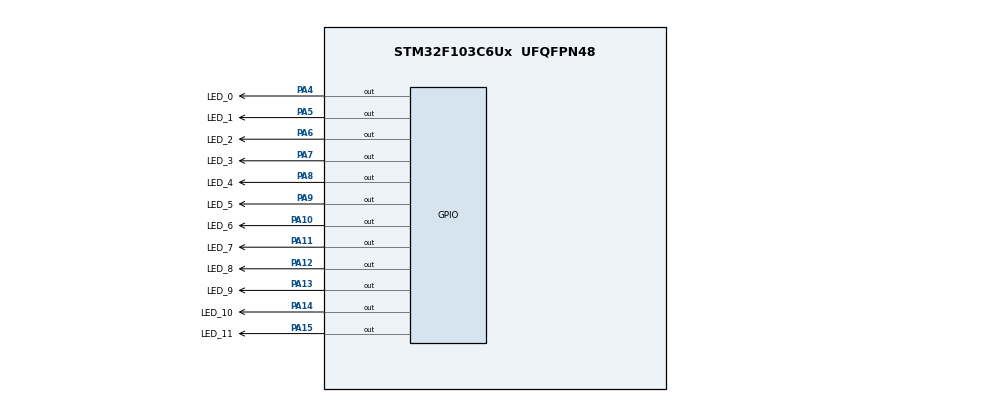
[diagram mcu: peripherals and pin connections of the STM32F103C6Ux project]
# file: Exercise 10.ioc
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Mcu.Family=STM32F1
Mcu.Name=STM32F103C6Ux
Mcu.Package=UFQFPN48
NVIC.PriorityGroup=NVIC_PRIORITYGROUP_4
PA10.GPIO_Label=LED_6
PA10.Signal=GPIO_Output
PA11.GPIO_Label=LED_7
PA11.Signal=GPIO_Output
PA12.GPIO_Label=LED_8
PA12.Signal=GPIO_Output
PA13.GPIO_Label=LED_9
PA13.Signal=GPIO_Output
PA14.GPIO_Label=LED_10
PA14.Signal=GPIO_Output
PA15.GPIO_Label=LED_11
PA15.Signal=GPIO_Output
PA4.GPIO_Label=LED_0
PA4.Signal=GPIO_Output
PA5.GPIO_Label=LED_1
PA5.Signal=GPIO_Output
PA6.GPIO_Label=LED_2
PA6.Signal=GPIO_Output
PA7.GPIO_Label=LED_3
PA7.Signal=GPIO_Output
PA8.GPIO_Label=LED_4
PA8.Signal=GPIO_Output
PA9.GPIO_Label=LED_5
PA9.Signal=GPIO_Output
ProjectManager.HeapSize=0x200
ProjectManager.StackSize=0x400
ProjectManager.TargetToolchain=STM32CubeIDE
RCC.APB1Freq_Value=8000000
RCC.APB2Freq_Value=8000000
VP_SYS_VS_ND.Mode=No_Debug
board=custom

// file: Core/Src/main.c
/* USER CODE BEGIN Header */
/**
  ******************************************************************************
  * @file           : main.c
  * @brief          : Main program body
  ******************************************************************************
  * @attention
  *
  * <h2><center>&copy; Copyright (c) 2022 STMicroelectronics.
  * All rights reserved.</center></h2>
  *
  * This software component is licensed by ST under BSD 3-Clause license,
  * the "License"; You may not use this file except in compliance with the
  * License. You may obtain a copy of the License at:
  *                        opensource.org/licenses/BSD-3-Clause
  *
  ******************************************************************************
  */
/* USER CODE END Header */
#include "main.h"

void SystemClock_Config(void);
static void MX_GPIO_Init(void);

/* USER CODE BEGIN 0 */

void clearAllClock (){
	HAL_GPIO_WritePin(LED_0_GPIO_Port, LED_0_Pin, GPIO_PIN_SET);
	HAL_GPIO_WritePin(LED_1_GPIO_Port, LED_1_Pin, GPIO_PIN_SET);
	HAL_GPIO_WritePin(LED_2_GPIO_Port, LED_2_Pin, GPIO_PIN_SET);
	HAL_GPIO_WritePin(LED_3_GPIO_Port, LED_3_Pin, GPIO_PIN_SET);
	HAL_GPIO_WritePin(LED_4_GPIO_Port, LED_4_Pin, GPIO_PIN_SET);
	HAL_GPIO_WritePin(LED_5_GPIO_Port, LED_5_Pin, GPIO_PIN_SET);
	HAL_GPIO_WritePin(LED_6_GPIO_Port, LED_6_Pin, GPIO_PIN_SET);
	HAL_GPIO_WritePin(LED_7_GPIO_Port, LED_7_Pin, GPIO_PIN_SET);
	HAL_GPIO_WritePin(LED_8_GPIO_Port, LED_8_Pin, GPIO_PIN_SET);
	HAL_GPIO_WritePin(LED_9_GPIO_Port, LED_9_Pin, GPIO_PIN_SET);
	HAL_GPIO_WritePin(LED_10_GPIO_Port, LED_10_Pin, GPIO_PIN_SET);
	HAL_GPIO_WritePin(LED_11_GPIO_Port, LED_11_Pin, GPIO_PIN_SET);
}

void setNumberOnClock(int num){
	switch(num){
	case 0 :{
				HAL_GPIO_WritePin(LED_0_GPIO_Port, LED_0_Pin, GPIO_PIN_RESET);
				break;
			}
			case 1 :{
				HAL_GPIO_WritePin(LED_1_GPIO_Port, LED_1_Pin, GPIO_PIN_RESET);
				break;
			}
			case 2 :{
				HAL_GPIO_WritePin(LED_2_GPIO_Port, LED_2_Pin, GPIO_PIN_RESET);
				break;
			}
			case 3 :{
				HAL_GPIO_WritePin(LED_3_GPIO_Port, LED_3_Pin, GPIO_PIN_RESET);
				break;
			}
			case 4 :{
				HAL_GPIO_WritePin(LED_4_GPIO_Port, LED_4_Pin, GPIO_PIN_RESET);
				break;
			}
			case 5 :{
				HAL_GPIO_WritePin(LED_5_GPIO_Port, LED_5_Pin, GPIO_PIN_RESET);
				break;
			}
			case 6 :{
				HAL_GPIO_WritePin(LED_6_GPIO_Port, LED_6_Pin, GPIO_PIN_RESET);
				break;
			}
			case 7 :{
				HAL_GPIO_WritePin(LED_7_GPIO_Port, LED_7_Pin, GPIO_PIN_RESET);
				break;
			}
			case 8 :{
				HAL_GPIO_WritePin(LED_8_GPIO_Port, LED_8_Pin, GPIO_PIN_RESET);
				break;
			}
			case 9 :{
				HAL_GPIO_WritePin(LED_9_GPIO_Port, LED_9_Pin, GPIO_PIN_RESET);
				break;
			}
			case 10 :{
				HAL_GPIO_WritePin(LED_10_GPIO_Port, LED_10_Pin, GPIO_PIN_RESET);
				break;
			}
			case 11 :{
				HAL_GPIO_WritePin(LED_11_GPIO_Port, LED_11_Pin, GPIO_PIN_RESET);
				break;
			}
	}
}

void clearNumberOnClock(int num){
	switch(num){
			case 0 :{
				HAL_GPIO_WritePin(LED_0_GPIO_Port, LED_0_Pin, GPIO_PIN_SET);
				break;
			}
			case 1 :{
				HAL_GPIO_WritePin(LED_1_GPIO_Port, LED_1_Pin, GPIO_PIN_SET);
				break;
			}
			case 2 :{
				HAL_GPIO_WritePin(LED_2_GPIO_Port, LED_2_Pin, GPIO_PIN_SET);
				break;
			}
			case 3 :{
				HAL_GPIO_WritePin(LED_3_GPIO_Port, LED_3_Pin, GPIO_PIN_SET);
				break;
			}
			case 4 :{
				HAL_GPIO_WritePin(LED_4_GPIO_Port, LED_4_Pin, GPIO_PIN_SET);
				break;
			}
			case 5 :{
				HAL_GPIO_WritePin(LED_5_GPIO_Port, LED_5_Pin, GPIO_PIN_SET);
				break;
			}
			case 6 :{
				HAL_GPIO_WritePin(LED_6_GPIO_Port, LED_6_Pin, GPIO_PIN_SET);
				break;
			}
			case 7 :{
				HAL_GPIO_WritePin(LED_7_GPIO_Port, LED_7_Pin, GPIO_PIN_SET);
				break;
			}
			case 8 :{
				HAL_GPIO_WritePin(LED_8_GPIO_Port, LED_8_Pin, GPIO_PIN_SET);
				break;
			}
			case 9 :{
				HAL_GPIO_WritePin(LED_9_GPIO_Port, LED_9_Pin, GPIO_PIN_SET);
				break;
			}
			case 10 :{
				HAL_GPIO_WritePin(LED_10_GPIO_Port, LED_10_Pin, GPIO_PIN_SET);
				break;
			}
			case 11 :{
				HAL_GPIO_WritePin(LED_11_GPIO_Port, LED_11_Pin, GPIO_PIN_SET);
				break;
			}
	}
}

/* USER CODE END 0 */

int main(void)
{

  /* MCU Configuration--------------------------------------------------------*/

  /* Reset of all peripherals, Initializes the Flash interface and the Systick. */
  HAL_Init();

  /* Configure the system clock */
  SystemClock_Config();

  /* Initialize all configured peripherals */
  MX_GPIO_Init();
  /* USER CODE BEGIN 2 */

  int second = 0;
  int minute = 0;
  int hour = 0;
  /* USER CODE END 2 */

  /* Infinite loop */
  /* USER CODE BEGIN WHILE */
  while (1)
  {
	  clearAllClock();
	  setNumberOnClock(hour);
	  setNumberOnClock(minute/5);
	  setNumberOnClock(second/5);
	  if (second == 60){
		  minute++;
		  second = 0;
	  }
	  if (minute == 60){
		  hour ++;
		  minute = 0;
	  }
	  if (hour == 12){
		  hour = 0;
	  }
	  second ++;
	  HAL_Delay(100);
    /* USER CODE END WHILE */

  }
}

void SystemClock_Config(void)
{
  RCC_OscInitTypeDef RCC_OscInitStruct = {0};
  RCC_ClkInitTypeDef RCC_ClkInitStruct = {0};

  /** Initializes the RCC Oscillators according to the specified parameters
  * in the RCC_OscInitTypeDef structure.
  */
  RCC_OscInitStruct.OscillatorType = RCC_OSCILLATORTYPE_HSI;
  RCC_OscInitStruct.HSIState = RCC_HSI_ON;
  RCC_OscInitStruct.HSICalibrationValue = RCC_HSICALIBRATION_DEFAULT;
  RCC_OscInitStruct.PLL.PLLState = RCC_PLL_NONE;
  if (HAL_RCC_OscConfig(&RCC_OscInitStruct) != HAL_OK)
  {
    Error_Handler();
  }
  /** Initializes the CPU, AHB and APB buses clocks
  */
  RCC_ClkInitStruct.ClockType = RCC_CLOCKTYPE_HCLK|RCC_CLOCKTYPE_SYSCLK
                              |RCC_CLOCKTYPE_PCLK1|RCC_CLOCKTYPE_PCLK2;
  RCC_ClkInitStruct.SYSCLKSource = RCC_SYSCLKSOURCE_HSI;
  RCC_ClkInitStruct.AHBCLKDivider = RCC_SYSCLK_DIV1;
  RCC_ClkInitStruct.APB1CLKDivider = RCC_HCLK_DIV1;
  RCC_ClkInitStruct.APB2CLKDivider = RCC_HCLK_DIV1;

  if (HAL_RCC_ClockConfig(&RCC_ClkInitStruct, FLASH_LATENCY_0) != HAL_OK)
  {
    Error_Handler();
  }
}

static void MX_GPIO_Init(void)
{
  GPIO_InitTypeDef GPIO_InitStruct = {0};

  /* GPIO Ports Clock Enable */
  __HAL_RCC_GPIOA_CLK_ENABLE();

  /*Configure GPIO pin Output Level */
  HAL_GPIO_WritePin(GPIOA, LED_0_Pin|LED_1_Pin|LED_2_Pin|LED_3_Pin
                          |LED_4_Pin|LED_5_Pin|LED_6_Pin|LED_7_Pin
                          |LED_8_Pin|LED_9_Pin|LED_10_Pin|LED_11_Pin, GPIO_PIN_RESET);

  /*Configure GPIO pins : LED_0_Pin LED_1_Pin LED_2_Pin LED_3_Pin
                           LED_4_Pin LED_5_Pin LED_6_Pin LED_7_Pin
                           LED_8_Pin LED_9_Pin LED_10_Pin LED_11_Pin */
  GPIO_InitStruct.Pin = LED_0_Pin|LED_1_Pin|LED_2_Pin|LED_3_Pin
                          |LED_4_Pin|LED_5_Pin|LED_6_Pin|LED_7_Pin
                          |LED_8_Pin|LED_9_Pin|LED_10_Pin|LED_11_Pin;
  GPIO_InitStruct.Mode = GPIO_MODE_OUTPUT_PP;
  GPIO_InitStruct.Pull = GPIO_NOPULL;
  GPIO_InitStruct.Speed = GPIO_SPEED_FREQ_LOW;
  HAL_GPIO_Init(GPIOA, &GPIO_InitStruct);

}

void Error_Handler(void)
{
  __disable_irq();
  while (1)
  {
  }
}

/************************ (C) COPYRIGHT STMicroelectronics *****END OF FILE****/
